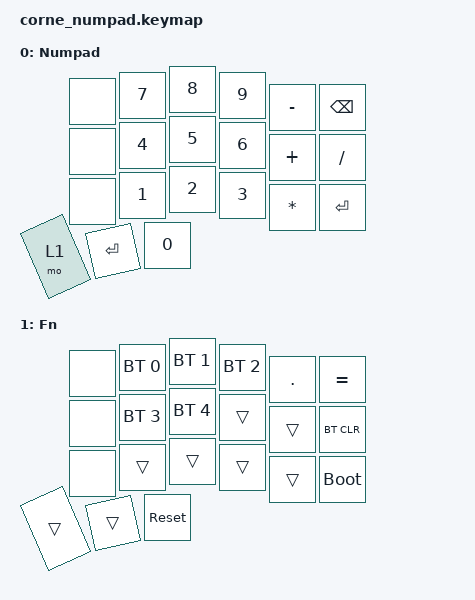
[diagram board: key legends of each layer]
/*
 * Corne right half — standalone wireless numpad
 *
 * Physical key positions (21 keys, Corne column stagger):
 *
 *     [ 0][ 1][ 2][ 3][ 4][ 5]
 *     [ 6][ 7][ 8][ 9][10][11]
 *     [12][13][14][15][16][17]
 *              [18][19][20]
 *
 * Layer 0 — Numpad:
 *     [   ][ 7 ][ 8 ][ 9 ][ - ][Bksp]
 *     [   ][ 4 ][ 5 ][ 6 ][ + ][ /  ]
 *     [   ][ 1 ][ 2 ][ 3 ][ * ][Ent ]
 *              [Fn ][Ent ][ 0 ]
 *
 * Layer 1 — Fn (hold inner thumb):
 *     [   ][BT1][BT2][BT3][ . ][ =  ]
 *     [   ][BT4][BT5][   ][   ][BTCL]
 *     [   ][   ][   ][   ][   ][Boot]
 *              [   ][   ][RST ]
 */

#include <behaviors.dtsi>
#include <dt-bindings/zmk/keys.h>
#include <dt-bindings/zmk/bt.h>

/ {
    keymap {
        compatible = "zmk,keymap";

        numpad {
            display-name = "Numpad";
            bindings = <
                &none  &kp N7  &kp N8  &kp N9  &kp MINUS  &kp BSPC
                &none  &kp N4  &kp N5  &kp N6  &kp PLUS   &kp SLASH
                &none  &kp N1  &kp N2  &kp N3  &kp ASTRK  &kp ENTER
                               &mo 1   &kp ENTER  &kp N0
            >;
        };

        fn {
            display-name = "Fn";
            bindings = <
                &none  &bt BT_SEL 0  &bt BT_SEL 1  &bt BT_SEL 2  &kp DOT    &kp EQUAL
                &none  &bt BT_SEL 3  &bt BT_SEL 4  &trans         &trans      &bt BT_CLR
                &none  &trans        &trans         &trans         &trans      &bootloader
                                     &trans         &trans         &sys_reset
            >;
        };

        /* Reserved layers for ZMK Studio runtime editing */
        extra_1 { status = "reserved"; };
        extra_2 { status = "reserved"; };
        extra_3 { status = "reserved"; };
    };
};
